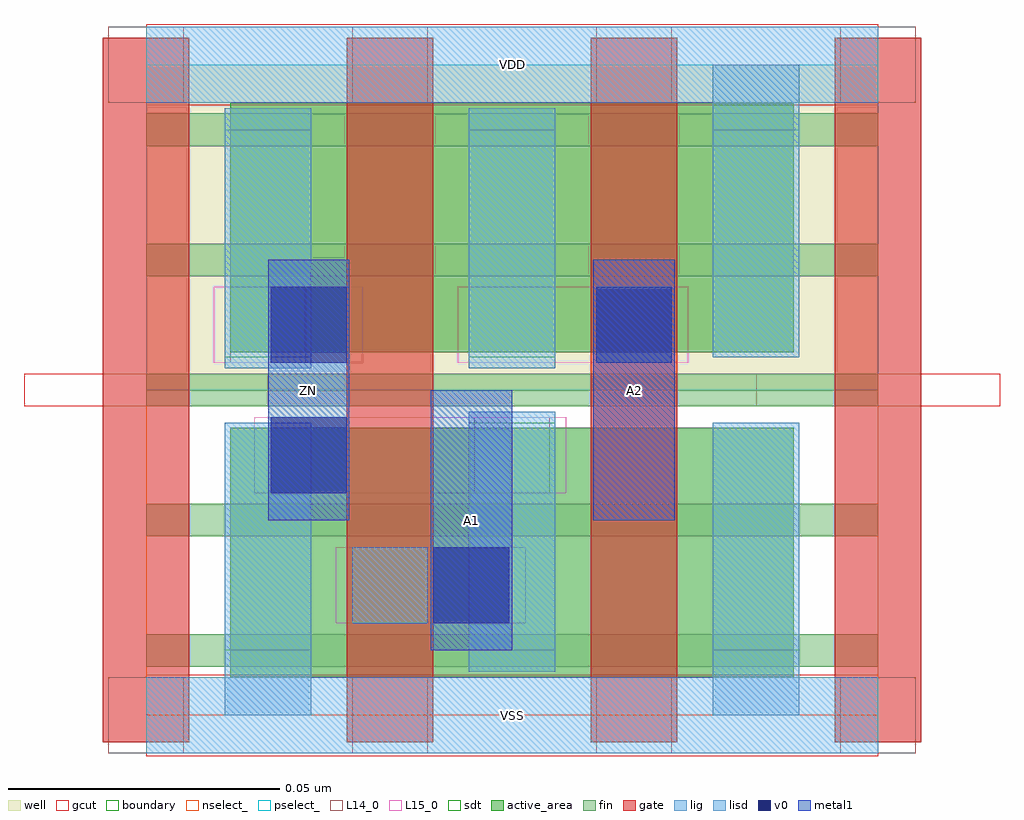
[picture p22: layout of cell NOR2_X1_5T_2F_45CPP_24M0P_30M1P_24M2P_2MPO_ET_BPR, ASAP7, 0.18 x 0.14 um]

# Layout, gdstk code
import gdstk
lib = gdstk.Library(unit=1e-6, precision=2.5e-10)
def R(c, l, rs):  # rectangles x0, y0, x1, y1
    for r in rs: c.add(gdstk.rectangle(r[:2], r[2:], *l))
def A(c, l, x, y, w, h, nx, ny, dx, dy):  # array of equal rectangles
    R(c, l, [(x+i*dx, y+j*dy, x+i*dx+w, y+j*dy+h) for i in range(nx) for j in range(ny)])
well = (1, 0)
fin = (2, 0)
gate = (7, 0)
gcut = (10, 0)
active_area = (11, 0)
nselect_ = (12, 0)
pselect_ = (13, 0)
L14_0 = (14, 0)
L15_0 = (15, 0)
lig = (16, 0)
lisd = (17, 0)
v0 = (18, 0)
metal1 = (19, 0)
sdt = (88, 0)
boundary = (100, 0)

nor2_x1_5t_2f_45cpp_24m0 = lib.new_cell('NOR2_X1_5T_2F_45CPP_24M0P_30M1P_24M2P_2MPO_ET_BPR')
R(nor2_x1_5t_2f_45cpp_24m0, well, [(0,0.06,0.135,0.12)])
A(nor2_x1_5t_2f_45cpp_24m0, fin, 0, 0.009, 0.135, 0.006, 1, 5, 0, 0.024)
A(nor2_x1_5t_2f_45cpp_24m0, gate, -0.008, -0.005, 0.016, 0.13, 4, 1, 0.045, 0)
R(nor2_x1_5t_2f_45cpp_24m0, gcut, [(0,-0.0075,0.135,0.0075), (-0.0225,0.057,0.0225,0.063), (0.1125,0.057,0.1575,0.063), (0,0.1125,0.135,0.1275)])
R(nor2_x1_5t_2f_45cpp_24m0, active_area, [(0.0155,0.007,0.0745,0.053), (0.0605,0.007,0.1195,0.053), (0.0155,0.067,0.0745,0.113), (0.0605,0.067,0.1195,0.113)])
R(nor2_x1_5t_2f_45cpp_24m0, nselect_, [(0,0,0.135,0.06)])
R(nor2_x1_5t_2f_45cpp_24m0, pselect_, [(0,0.06,0.135,0.12)])
A(nor2_x1_5t_2f_45cpp_24m0, L14_0, -0.007, -0.007, 0.014, 0.014, 4, 2, 0.045, 0.12)
R(nor2_x1_5t_2f_45cpp_24m0, L14_0, [(0.038,0.017,0.052,0.031), (0.0605,0.041,0.0745,0.055), (0.0155,0.065,0.0295,0.079), (0.083,0.065,0.097,0.079)])
R(nor2_x1_5t_2f_45cpp_24m0, L15_0, [(0,-0.007,0.135,0.007), (0.035,0.017,0.07,0.031), (0.02,0.041,0.0775,0.055), (0.0125,0.065,0.04,0.079), (0.0575,0.065,0.1,0.079), (0,0.113,0.135,0.127)])
R(nor2_x1_5t_2f_45cpp_24m0, lig, [(0,-0.007,0.135,0.007), (0.038,0.017,0.052,0.031), (0.083,0.065,0.097,0.079), (0,0.113,0.135,0.127)])
R(nor2_x1_5t_2f_45cpp_24m0, lisd, [(0.0145,0,0.0305,0.054), (0.1045,0,0.1205,0.054), (0.0595,0.008,0.0755,0.056), (0.0145,0.064,0.0305,0.112), (0.0595,0.064,0.0755,0.112), (0.1045,0.066,0.1205,0.12)])
R(nor2_x1_5t_2f_45cpp_24m0, v0, [(0.053,0.017,0.067,0.031), (0.023,0.041,0.037,0.055), (0.023,0.065,0.037,0.079), (0.083,0.065,0.097,0.079)])
R(nor2_x1_5t_2f_45cpp_24m0, metal1, [(0.0525,0.012,0.0675,0.06), (0.0225,0.036,0.0375,0.084), (0.0825,0.036,0.0975,0.084)])
A(nor2_x1_5t_2f_45cpp_24m0, sdt, 0.0145, 0.012, 0.016, 0.042, 3, 2, 0.045, 0.054)
R(nor2_x1_5t_2f_45cpp_24m0, boundary, [(0,0,0.135,0.12)])
nor2_x1_5t_2f_45cpp_24m0.add(gdstk.Label('A2', (0.09,0.06), layer=19, texttype=251))
nor2_x1_5t_2f_45cpp_24m0.add(gdstk.Label('A1', (0.06,0.036), layer=19, texttype=251))
nor2_x1_5t_2f_45cpp_24m0.add(gdstk.Label('ZN', (0.03,0.06), layer=19, texttype=251))
nor2_x1_5t_2f_45cpp_24m0.add(gdstk.Label('VDD', (0.0675,0.12), layer=15, texttype=251))
nor2_x1_5t_2f_45cpp_24m0.add(gdstk.Label('VSS', (0.0675,0), layer=15, texttype=251))
nor2_x1_5t_2f_45cpp_24m0.add(gdstk.Label('VDD', (0.0675,0.12), layer=1, texttype=251))
nor2_x1_5t_2f_45cpp_24m0.add(gdstk.Label('VSS', (0.0675,0), layer=3, texttype=251))

lib.write_gds('NOR2_X1_5T_2F_45CPP_24M0P_30M1P_24M2P_2MPO_ET_BPR.gds')
